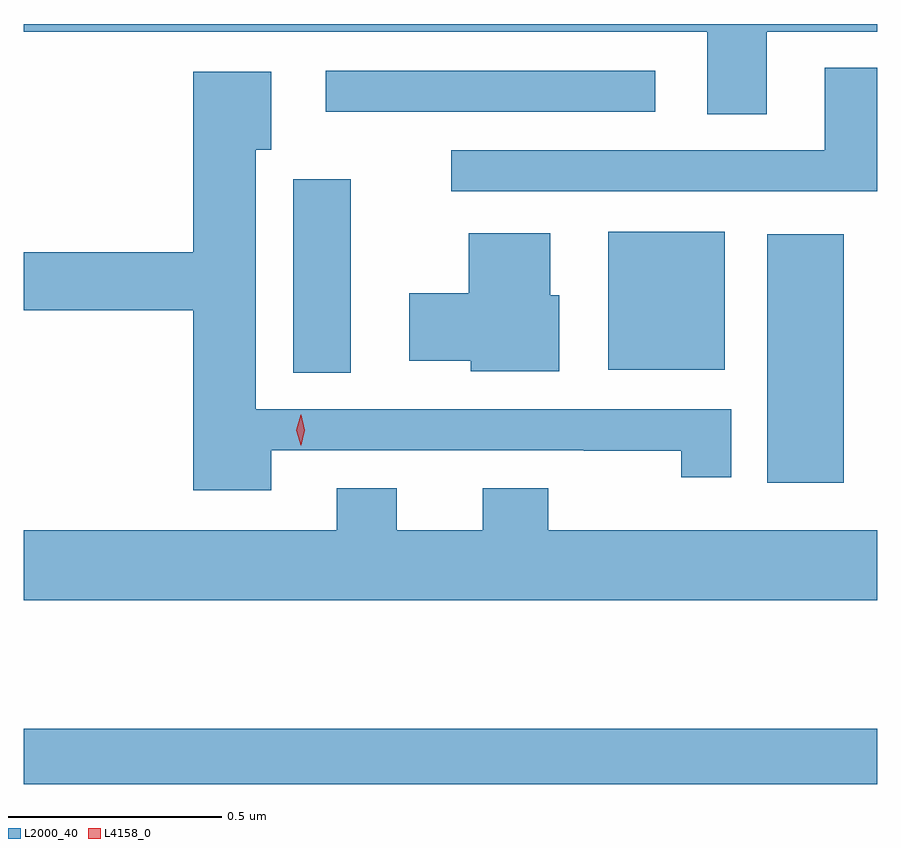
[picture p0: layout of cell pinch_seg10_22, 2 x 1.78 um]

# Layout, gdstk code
import gdstk
lib = gdstk.Library(unit=1e-6, precision=1e-09)
def R(c, l, rs):  # rectangles x0, y0, x1, y1
    for r in rs: c.add(gdstk.rectangle(r[:2], r[2:], *l))
def P(c, l, *ps):  # polygons
    for p in ps: c.add(gdstk.Polygon(p, *l))
L2000_40 = (2000, 40)
L4158_0 = (4158, 0)

pinch_seg10_22 = lib.new_cell('pinch_seg10_22')
R(pinch_seg10_22, L2000_40, [(949.722,1283.902,951.722,1284.031), (951.464,1284.608,951.643,1285.189), (950.354,1284.865,950.488,1285.318), (951.092,1284.872,951.364,1285.195), (950.43,1285.476,951.202,1285.572)])
P(pinch_seg10_22, L2000_40, [(951.463,1285.664),(951.722,1285.664),(951.722,1285.682),(949.722,1285.682),(949.722,1285.664),(951.323,1285.664),(951.323,1285.471),(951.463,1285.471)],
  [(951.722,1285.579),(951.599,1285.579),(951.599,1285.386),(950.724,1285.386),(950.724,1285.29),(951.722,1285.29)],
  [(950.302,1284.684),(951.034,1284.684),(951.034,1284.683),(951.262,1284.683),(951.262,1284.621),(951.379,1284.621),(951.379,1284.78),(950.266,1284.78),(950.266,1285.388),(950.302,1285.388),(950.302,1285.57),(950.12,1285.57),(950.12,1285.148),(949.722,1285.148),(949.722,1285.012),(950.12,1285.012),(950.12,1284.59),(950.302,1284.59)],
  [(950.977,1285.047),(950.956,1285.047),(950.956,1285.192),(950.765,1285.192),(950.765,1285.051),(950.625,1285.051),(950.625,1284.893),(950.769,1284.893),(950.769,1284.869),(950.977,1284.869)],
  [(951.722,1284.496),(950.951,1284.496),(950.951,1284.595),(950.798,1284.595),(950.798,1284.496),(950.596,1284.496),(950.596,1284.595),(950.456,1284.595),(950.456,1284.496),(949.722,1284.496),(949.722,1284.332),(951.722,1284.332)])
P(pinch_seg10_22, L4158_0, [(950.371,1284.695),(950.371,1284.695),(950.361,1284.731),(950.371,1284.767),(950.371,1284.767),(950.372,1284.767),(950.381,1284.731),(950.372,1284.695)])

lib.write_gds('pinch_seg10_22.gds')
